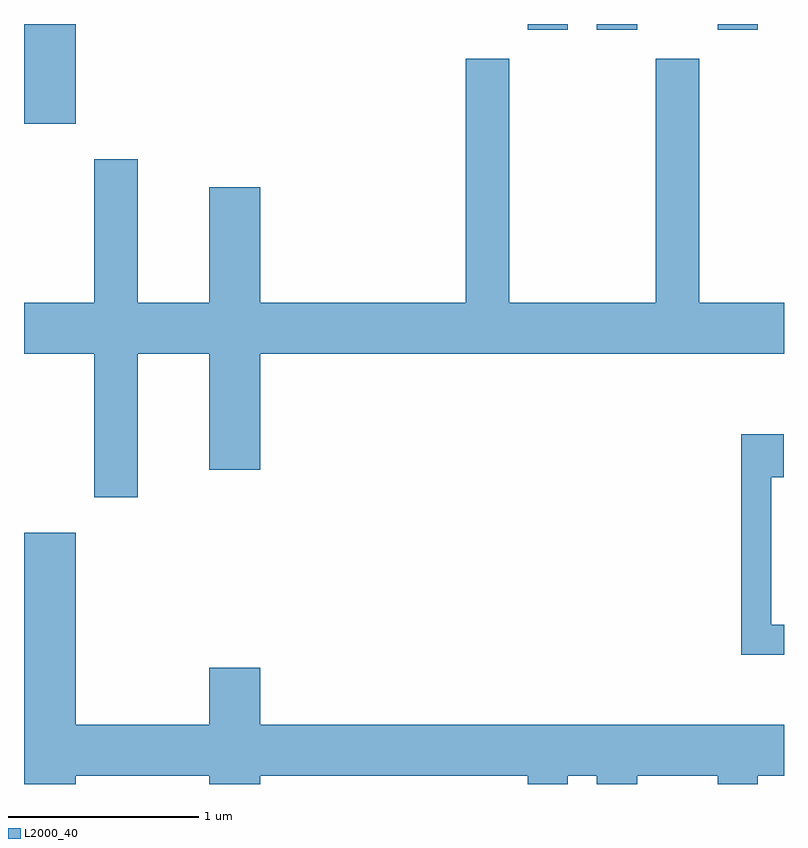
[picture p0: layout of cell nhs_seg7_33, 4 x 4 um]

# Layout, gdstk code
import gdstk
lib = gdstk.Library(unit=1e-6, precision=1e-09)
def R(c, l, rs):  # rectangles x0, y0, x1, y1
    for r in rs: c.add(gdstk.rectangle(r[:2], r[2:], *l))
def P(c, l, *ps):  # polygons
    for p in ps: c.add(gdstk.Polygon(p, *l))
L2000_40 = (2000, 40)

nhs_seg7_33 = lib.new_cell('nhs_seg7_33')
R(nhs_seg7_33, L2000_40, [(185.611,1737.726,185.884,1738.252), (188.261,1738.221,188.474,1738.252), (188.626,1738.221,188.839,1738.252), (189.261,1738.221,189.474,1738.252)])
P(nhs_seg7_33, L2000_40, [(186.209,1736.516),(186.586,1736.516),(186.586,1735.906),(186.854,1735.906),(186.854,1736.516),(189.611,1736.516),(189.611,1736.784),(189.164,1736.784),(189.164,1738.069),(188.936,1738.069),(188.936,1736.784),(188.164,1736.784),(188.164,1738.069),(187.936,1738.069),(187.936,1736.784),(186.854,1736.784),(186.854,1737.394),(186.586,1737.394),(186.586,1736.784),(186.209,1736.784),(186.209,1737.539),(185.981,1737.539),(185.981,1736.784),(185.611,1736.784),(185.611,1736.516),(185.981,1736.516),(185.981,1735.761),(186.209,1735.761)],
  [(189.611,1735.089),(189.544,1735.089),(189.544,1735.866),(189.609,1735.866),(189.609,1736.094),(189.386,1736.094),(189.386,1734.931),(189.611,1734.931)],
  [(185.884,1734.296),(186.586,1734.296),(186.586,1734.252),(186.854,1734.252),(186.854,1734.296),(188.261,1734.296),(188.261,1734.252),(188.474,1734.252),(188.474,1734.296),(188.626,1734.296),(188.626,1734.252),(188.839,1734.252),(188.839,1734.296),(189.261,1734.296),(189.261,1734.252),(189.474,1734.252),(189.474,1734.296),(189.611,1734.296),(189.611,1734.564),(186.854,1734.564),(186.854,1734.864),(186.586,1734.864),(186.586,1734.564),(185.884,1734.564),(185.884,1735.574),(185.611,1735.574),(185.611,1734.252),(185.884,1734.252)])

lib.write_gds('nhs_seg7_33.gds')
